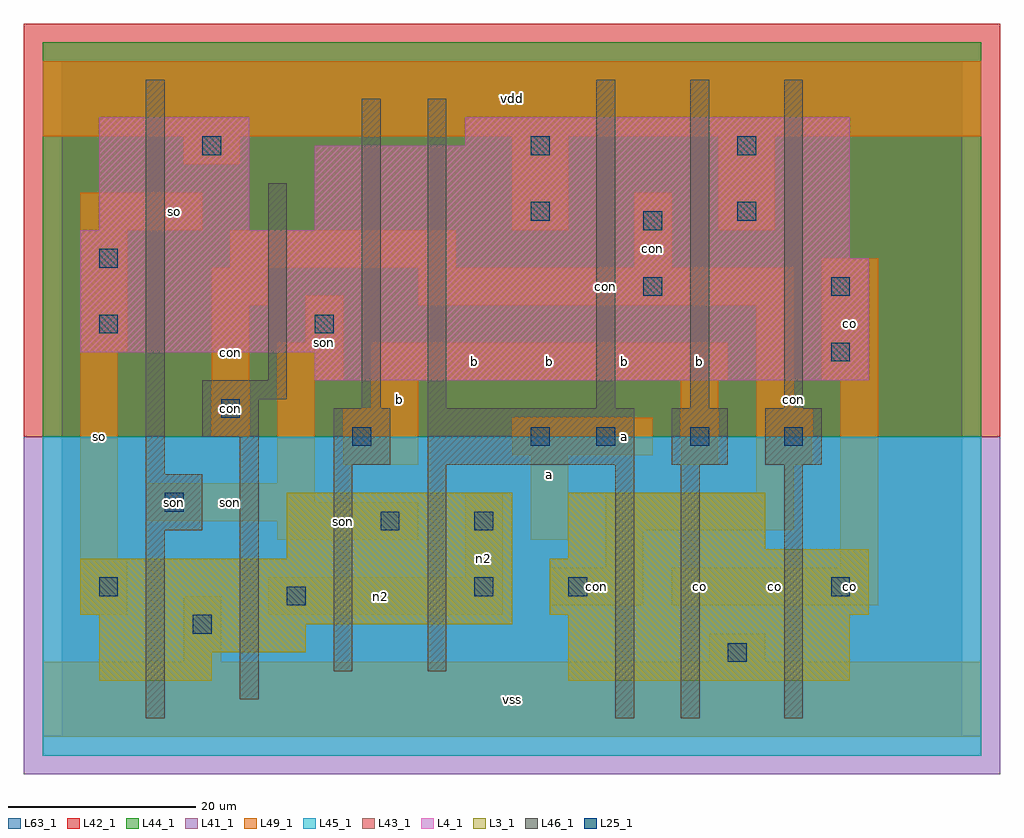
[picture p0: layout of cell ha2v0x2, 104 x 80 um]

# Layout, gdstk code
import gdstk
lib = gdstk.Library(unit=1e-6, precision=1e-09)
def R(c, l, rs):  # rectangles x0, y0, x1, y1
    for r in rs: c.add(gdstk.rectangle(r[:2], r[2:], *l))
def A(c, l, x, y, w, h, nx, ny, dx, dy):  # array of equal rectangles
    R(c, l, [(x+i*dx, y+j*dy, x+i*dx+w, y+j*dy+h) for i in range(nx) for j in range(ny)])
L3_1 = (3, 1)
L4_1 = (4, 1)
L25_1 = (25, 1)
L41_1 = (41, 1)
L42_1 = (42, 1)
L43_1 = (43, 1)
L44_1 = (44, 1)
L45_1 = (45, 1)
L46_1 = (46, 1)
L49_1 = (49, 1)
L63_1 = (63, 1)

ha2v0x2 = lib.new_cell('ha2v0x2')
R(ha2v0x2, L3_1, [(4,6,16,9), (54,6,84,13), (4,9,26,12), (4,12,48,13), (2,13,48,19), (52,13,86,19), (24,19,48,26), (54,19,86,20), (54,20,75,26)])
R(ha2v0x2, L4_1, [(27,38,86,41), (2,41,86,51), (2,51,84,54), (4,54,20,66), (27,54,84,63), (43,63,84,66)])
A(ha2v0x2, L25_1, 57, 31, 2, 2, 3, 1, 10, 0)
R(ha2v0x2, L25_1, [(71,8,73,10), (14,11,16,13), (24,14,26,16), (4,15,6,17), (44,15,46,17), (54,15,56,17), (82,15,84,17), (34,22,36,24), (44,22,46,24), (11,24,13,26), (31,31,33,33), (50,31,52,33), (17,34,19,36), (82,40,84,42), (4,43,6,45), (27,43,29,45), (62,47,64,49), (82,47,84,49), (4,50,6,52), (62,54,64,56), (50,55,52,57), (72,55,74,57), (15,62,17,64), (50,62,52,64), (72,62,74,64)])
R(ha2v0x2, L41_1, [(-4,-4,100,32)])
R(ha2v0x2, L42_1, [(-4,32,100,76)])
R(ha2v0x2, L43_1, [(4,6,16,9), (54,6,84,13), (4,9,26,12), (4,12,48,13), (2,13,48,19), (52,13,86,19), (24,19,48,26), (54,19,86,20), (54,20,75,26), (27,38,86,41), (2,41,86,51), (2,51,84,54), (4,54,20,66), (27,54,84,63), (43,63,84,66)])
R(ha2v0x2, L44_1, [(-2,32,98,74)])
R(ha2v0x2, L45_1, [(-2,-2,98,32)])
A(ha2v0x2, L46_1, 57, 35, 2, 35, 3, 1, 10, 0)
R(ha2v0x2, L46_1, [(9,2,11,22), (59,2,61,29), (66,2,68,29), (77,2,79,29), (19,4,21,32), (29,7,31,29), (39,7,41,29), (9,22,15,28), (9,28,11,70), (29,29,35,35), (39,29,61,35), (65,29,71,35), (75,29,81,35), (15,32,21,36), (32,35,34,68), (39,35,41,68), (15,36,24,38), (22,38,24,59)])
R(ha2v0x2, L49_1, [(-2,0,98,8), (13,8,17,15), (69,8,75,11), (2,13,7,19), (22,13,47,17), (52,14,62,18), (65,14,87,18), (43,17,47,26), (58,18,62,22), (83,18,87,38), (2,19,6,41), (23,21,38,23), (50,21,54,30), (58,22,78,26), (9,23,38,25), (9,25,27,27), (74,26,78,29), (23,27,27,38), (30,29,38,35), (66,29,70,38), (74,29,80,35), (48,30,63,34), (16,32,20,46), (33,35,38,38), (74,35,78,46), (23,38,30,42), (33,38,71,42), (81,38,87,51), (2,41,7,54), (26,42,30,47), (16,46,22,50), (38,46,78,50), (18,50,42,54), (61,50,65,58), (2,54,15,58), (48,54,54,64), (70,54,76,64), (13,61,19,64), (-2,64,98,72)])
R(ha2v0x2, L63_1, [(0,0,96,72)])
ha2v0x2.add(gdstk.Label('son', (12,25), layer=49, texttype=1))
ha2v0x2.add(gdstk.Label('con', (18,35), layer=49, texttype=1))
ha2v0x2.add(gdstk.Label('con', (78,36), layer=46, texttype=1))
ha2v0x2.add(gdstk.Label('so', (4,32), layer=49, texttype=1))
ha2v0x2.add(gdstk.Label('so', (12,56), layer=49, texttype=1))
ha2v0x2.add(gdstk.Label('son', (18,25), layer=49, texttype=1))
ha2v0x2.add(gdstk.Label('son', (28,42), layer=49, texttype=1))
ha2v0x2.add(gdstk.Label('con', (18,41), layer=49, texttype=1))
ha2v0x2.add(gdstk.Label('vss', (48,4), layer=49, texttype=1))
ha2v0x2.add(gdstk.Label('n2', (45,19), layer=49, texttype=1))
ha2v0x2.add(gdstk.Label('n2', (34,15), layer=49, texttype=1))
ha2v0x2.add(gdstk.Label('son', (30,23), layer=49, texttype=1))
ha2v0x2.add(gdstk.Label('a', (52,28), layer=49, texttype=1))
ha2v0x2.add(gdstk.Label('b', (36,36), layer=49, texttype=1))
ha2v0x2.add(gdstk.Label('b', (52,40), layer=49, texttype=1))
ha2v0x2.add(gdstk.Label('b', (44,40), layer=49, texttype=1))
ha2v0x2.add(gdstk.Label('vdd', (48,68), layer=49, texttype=1))
ha2v0x2.add(gdstk.Label('co', (68,16), layer=49, texttype=1))
ha2v0x2.add(gdstk.Label('co', (76,16), layer=49, texttype=1))
ha2v0x2.add(gdstk.Label('con', (57,16), layer=49, texttype=1))
ha2v0x2.add(gdstk.Label('a', (60,32), layer=49, texttype=1))
ha2v0x2.add(gdstk.Label('b', (60,40), layer=49, texttype=1))
ha2v0x2.add(gdstk.Label('b', (68,40), layer=49, texttype=1))
ha2v0x2.add(gdstk.Label('con', (76,36), layer=49, texttype=1))
ha2v0x2.add(gdstk.Label('con', (58,48), layer=49, texttype=1))
ha2v0x2.add(gdstk.Label('con', (63,52), layer=49, texttype=1))
ha2v0x2.add(gdstk.Label('co', (84,16), layer=49, texttype=1))
ha2v0x2.add(gdstk.Label('co', (84,44), layer=49, texttype=1))

lib.write_gds('ha2v0x2.gds')
